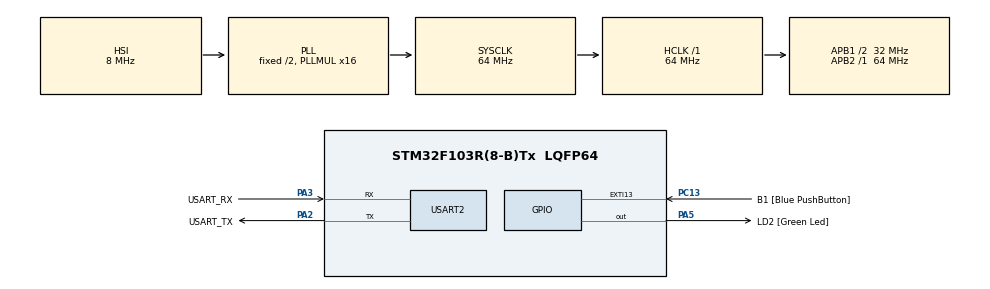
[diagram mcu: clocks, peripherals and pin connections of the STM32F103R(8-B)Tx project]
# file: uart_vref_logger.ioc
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ADC1.Channel-0\#ChannelRegularConversion=ADC_CHANNEL_VREFINT
ADC1.NbrOfConversionFlag=1
ADC1.Rank-0\#ChannelRegularConversion=1
ADC1.SamplingTime-0\#ChannelRegularConversion=ADC_SAMPLETIME_239CYCLES_5
ADC1.master=1
Mcu.Family=STM32F1
Mcu.Name=STM32F103R(8-B)Tx
Mcu.Package=LQFP64
NVIC.EXTI15_10_IRQn=true\:0\:0\:false\:false\:true\:true\:true\:true
NVIC.PriorityGroup=NVIC_PRIORITYGROUP_4
NVIC.USART2_IRQn=true\:0\:0\:false\:false\:true\:true\:true\:true
PA13.GPIO_Label=TMS
PA13.Mode=Serial_Wire
PA13.Signal=SYS_JTMS-SWDIO
PA14.GPIO_Label=TCK
PA14.Mode=Serial_Wire
PA14.Signal=SYS_JTCK-SWCLK
PA2.GPIO_Label=USART_TX
PA2.GPIO_Mode=GPIO_MODE_AF_PP
PA2.GPIO_PuPd=GPIO_NOPULL
PA2.GPIO_Speed=GPIO_SPEED_FREQ_LOW
PA2.Mode=Asynchronous
PA2.Signal=USART2_TX
PA3.GPIO_Label=USART_RX
PA3.GPIO_Mode=GPIO_MODE_AF_PP
PA3.GPIO_PuPd=GPIO_NOPULL
PA3.GPIO_Speed=GPIO_SPEED_FREQ_LOW
PA3.Mode=Asynchronous
PA3.Signal=USART2_RX
PA5.GPIO_Label=LD2 [Green Led]
PA5.GPIO_ModeDefaultOutputPP=GPIO_MODE_OUTPUT_PP
PA5.GPIO_PuPd=GPIO_NOPULL
PA5.GPIO_Speed=GPIO_SPEED_FREQ_LOW
PA5.Signal=GPIO_Output
PB3.GPIO_Label=SWO
PB3.Signal=SYS_JTDO-TRACESWO
PC13-TAMPER-RTC.GPIO_Label=B1 [Blue PushButton]
PC13-TAMPER-RTC.GPIO_PuPd=GPIO_NOPULL
PC13-TAMPER-RTC.Signal=GPXTI13
PC14-OSC32_IN.Mode=LSE-External-Oscillator
PC14-OSC32_IN.Signal=RCC_OSC32_IN
PC15-OSC32_OUT.Mode=LSE-External-Oscillator
PC15-OSC32_OUT.Signal=RCC_OSC32_OUT
PD0-OSC_IN.Mode=HSE-External-Clock-Source
PD0-OSC_IN.Signal=RCC_OSC_IN
PD1-OSC_OUT.Mode=HSE-External-Clock-Source
PD1-OSC_OUT.Signal=RCC_OSC_OUT
ProjectManager.HeapSize=0x200
ProjectManager.StackSize=0x400
ProjectManager.TargetToolchain=STM32CubeIDE
RCC.ADCPresc=RCC_ADCPCLK2_DIV6
RCC.AHBFreq_Value=64000000
RCC.APB1CLKDivider=RCC_HCLK_DIV2
RCC.APB1Freq_Value=32000000
RCC.APB1TimFreq_Value=64000000
RCC.APB2Freq_Value=64000000
RCC.APB2TimFreq_Value=64000000
RCC.HCLKFreq_Value=64000000
RCC.PLLMUL=RCC_PLL_MUL16
RCC.RTCClockSelection=RCC_RTCCLKSOURCE_LSE
RCC.SYSCLKFreq_VALUE=64000000
RCC.SYSCLKSource=RCC_SYSCLKSOURCE_PLLCLK
RCC.USBFreq_Value=64000000
USART2.VirtualMode=VM_ASYNC
VP_ADC1_Vref_Input.Mode=IN-Vrefint
board=NUCLEO-F103RB

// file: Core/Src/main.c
/* USER CODE BEGIN Header */
/**
 ******************************************************************************
 * @file           : main.c
 * @brief          : Main program body
 ******************************************************************************
 * @attention
 *
 * Copyright (c) 2026 STMicroelectronics.
 * All rights reserved.
 *
 * This software is licensed under terms that can be found in the LICENSE file
 * in the root directory of this software component.
 * If no LICENSE file comes with this software, it is provided AS-IS.
 *
 ******************************************************************************
 */
/* USER CODE END Header */
#include "main.h"
#include "cal_store.h"
#include <stdio.h>
#include <stdlib.h>
#include <string.h>

/* USER CODE BEGIN PD */
#define VREFINT_MV_TYP 1200u
#define ADC_MAX        4095u

#define VREFINT_CAL_ADDR ((uint16_t*)0x1FFFF7BAu)

/* USER CODE END PD */

ADC_HandleTypeDef hadc1;

UART_HandleTypeDef huart2;

/* USER CODE BEGIN PV */
static uint32_t vrefint_mv_cal = 1095u;
static uint8_t vrefint_cal_valid = 0;

//LED
static uint8_t ld2_load_on = 0;
static uint32_t ld2_period_ms = 1;
static uint32_t ld2_last_ms = 0;
//Stream stats
static uint32_t st_min_raw = 0xFFFFFFFFu;
static uint32_t st_max_raw = 0;
static uint64_t st_sum_raw = 0;
static uint32_t st_cnt_raw = 0;

static uint32_t st_min_vdda = 0xFFFFFFFFu;
static uint32_t st_max_vdda = 0;
static uint64_t st_sum_vdda = 0;
static uint32_t st_cnt_vdda = 0;

// UART RX (1-byte interrupt)
static uint8_t rx_xh;
static uint32_t typing_deadline_ms = 0;

#define CLI_BUF_SZ 64
static char cli_buf[CLI_BUF_SZ];
static uint32_t cli_len = 0;
static volatile uint8_t cli_line_ready = 0;

// Stream control
static uint8_t stream_on = 0;
static uint32_t stream_period_ms = 1000;
static uint32_t last_stream_ms = 0;

static uint32_t stream_seq = 0;
static uint32_t stream_lines = 0;

/* USER CODE END PV */

void SystemClock_Config(void);
static void MX_GPIO_Init(void);
static void MX_ADC1_Init(void);
static void MX_USART2_UART_Init(void);

// ==== TX ring buffer (non-blocking) === //
#define TX_BUF_SZ 512
static uint8_t tx_buf[TX_BUF_SZ];
static volatile uint16_t tx_head = 0;
static volatile uint16_t tx_tail = 0;
static volatile uint8_t tx_busy = 0;
static volatile uint32_t tx_ovf = 0; // ovverflow counter

static uint8_t tx_it_byte; // 1-byte IT 송신용 (임시)

/* USER CODE BEGIN 0 */

// === Flash CAL storage (last page) === //
#define FLASH_PAGE_SIZE_BYTES (1024u)
#define CAL_MAGIC (0xCA1Bu)
#define CAL_VERSION (0x001u)

static void tx_rb_push(uint8_t b) {
  uint16_t next = (uint16_t)((tx_head + 1) % TX_BUF_SZ);
  if (next == tx_tail) {
    tx_ovf++;
    return;
  }
  tx_buf[tx_head] = b;
  tx_head = next;
}

static int tx_rb_pop(uint8_t *out) {
  if (tx_tail == tx_head)
    return 0;
  *out = tx_buf[tx_tail];
  tx_tail = (uint16_t)((tx_tail + 1) % TX_BUF_SZ);
  return 1;
}

static uint16_t tx_rb_count(void) {
  if (tx_head >= tx_tail)
    return (uint16_t)(tx_head - tx_tail);
  return (uint16_t)(TX_BUF_SZ - (tx_tail - tx_head));
}

static void uart_tx_kick(void) {
  if (tx_busy)
    return;

  if (tx_rb_pop(&tx_it_byte)) {
    tx_busy = 1;
    HAL_UART_Transmit_IT(&huart2, &tx_it_byte, 1);
  }
}

static void stats_reset(void) {
	st_min_raw = 0xFFFFFFFFu; st_max_raw = 0; st_sum_raw = 0; st_cnt_raw = 0;
	st_min_vdda = 0xFFFFFFFFu; st_max_vdda = 0; st_sum_vdda = 0; st_cnt_vdda = 0;
}

static void stats_update(uint32_t raw, uint32_t vdda) {
	if(raw < st_min_raw) st_min_raw = raw;
	if(raw > st_max_raw) st_max_raw = raw;
	st_sum_raw += raw;
	st_cnt_raw++;

	if(vdda < st_min_vdda) st_min_vdda = vdda;
	if(vdda > st_max_vdda) st_max_vdda = vdda;
	st_sum_vdda += vdda;
	st_cnt_vdda++;
}

static void uart_write(const uint8_t *data, uint16_t len) {
  __disable_irq();
  for (uint16_t i = 0; i < len; i++) {
    tx_rb_push(data[i]);
  }

  __enable_irq();

  uart_tx_kick();
}

static uint32_t read_vref_raw(void) {
  HAL_ADC_Start(&hadc1);
  HAL_ADC_PollForConversion(&hadc1, 10);
  uint32_t v = HAL_ADC_GetValue(&hadc1);
  HAL_ADC_Stop(&hadc1);
  return v;
}

static uint32_t read_vref_raw_avg(uint8_t n) {
	uint32_t sum = 0;
	if(n == 0) return 0;

	for(uint8_t i = 0; i < n; i++){
		HAL_ADC_Start(&hadc1);
		HAL_ADC_PollForConversion(&hadc1, 10);
		sum += HAL_ADC_GetValue(&hadc1);
		HAL_ADC_Stop(&hadc1);
	}

	return (sum + (n/2)) / n;
}

static void uart_print(const char *s) {
  uart_write((const uint8_t*)s, (uint16_t)strlen(s));
}

static uint32_t calc_vdda_mv(uint32_t vref_raw) {
  if (vref_raw == 0) return 0;
  return (vrefint_mv_cal * ADC_MAX) / vref_raw;
}

static void ld2_load_set(uint8_t on) {
	ld2_load_on = on ? 1u : 0u;
	ld2_last_ms = HAL_GetTick();

	if(!ld2_load_on) {
		HAL_GPIO_WritePin(LD2_GPIO_Port, LD2_Pin, GPIO_PIN_RESET);
	}
}

static void ld2_load_set_hz(uint32_t hz) {
	if(hz < 1) hz = 1;
	if(hz > 2000) hz = 2000;
	ld2_period_ms = (1000u / hz);
	if(ld2_period_ms < 1) ld2_period_ms = 1;
}

static void ld2_load_task(void) {
	if(!ld2_load_on) return;

	uint32_t now = HAL_GetTick();
	if((now - ld2_last_ms) >= ld2_period_ms) {
		ld2_last_ms = now;
		HAL_GPIO_TogglePin(LD2_GPIO_Port, LD2_Pin);
	}
}

static void vrefint_apply_cal(uint32_t measured_vdda_mv) {
	if(measured_vdda_mv < 2500 || measured_vdda_mv > 3600) {
		uart_print("ERR cal range 2500..3600 mV\r\n");
		return;
	}

	uint32_t raw = read_vref_raw_avg(32);
	if(raw == 0) {
		uart_print("ERR raw=0\r\n");
		return;
	}

	uint32_t new_cal = (measured_vdda_mv * raw + (ADC_MAX/2)) / ADC_MAX;

	vrefint_mv_cal = new_cal;
	vrefint_cal_valid = 1;

	char out[96];
	uint32_t vdda = calc_vdda_mv(raw);
	int n = snprintf(out, sizeof(out),
			"OK cal set: meas=%lu raw=%lu vrefint_mv_cal=%lu => VDDA=%lu\r\n",
			(unsigned long)measured_vdda_mv,
			(unsigned long)raw,
			(unsigned long)vrefint_mv_cal,
			(unsigned long)vdda);
	uart_write((uint8_t*)out, (uint16_t)n);
}

static void print_status(void) {
	uint32_t raw = read_vref_raw_avg(16);
	uint32_t vdda = calc_vdda_mv(raw);
	uint32_t pending = tx_rb_count();

	char out[320];
	int n = snprintf(out, sizeof(out),
			"STATUS\r\n"
			" stream_on=%lu rate_ms=%lu seq=%lu lines=%lu\r\n"
			" tx_pending=%u tx_ovf=%lu\r\n"
			" ld2_on=%lu ld2_period_ms=%lu\r\n"
			" cal_valid=%lu vrefint_mv_cal=%lu\r\n"
			" raw=%lu vdda=%lu\r\n",
			(unsigned long)stream_on,
			(unsigned long)stream_period_ms,
			(unsigned long)stream_seq,
			(unsigned long)stream_lines,
			(unsigned)pending,
			(unsigned long)tx_ovf,
			(unsigned long)ld2_load_on,
			(unsigned long)ld2_period_ms,
			(unsigned long)vrefint_cal_valid,
			(unsigned long)vrefint_mv_cal,
			(unsigned long)raw,
			(unsigned long)vdda);

	uart_write((uint8_t*)out, (uint16_t)n);
}

static void cli_handle_line(const char *line) {
  if (strcmp(line, "help") == 0) {
    uart_print("Commands: \r\n"
               "  help\r\n"
               "  adc read\r\n"
               "  stream start\r\n"
               "  stream stop\r\n"
               "  rate <ms>\r\n"
               "  stats \r\n"
    		   "  reset stats\r\n"
    		   "  avg <N>\r\n"
    		   "  ld2 on\r\n"
    		   "  ld2 off\r\n"
    		   "  ld2 hz <1..2000>\r\n"
    		   "  cal <mV>\r\n"
    		   "  cal show\r\n"
    		   "  cal save\r\n"
    		   "  cal load\r\n"
    		   "  cal dump\r\n"
    		   "  status\r\n"
    		   "  cal erase\r\n");

    return;
  }

  if (strcmp(line, "adc read") == 0) {
    uint32_t raw = read_vref_raw_avg(16);
    uint32_t vdda = calc_vdda_mv(raw);
    char out[64];
    int n = snprintf(out, sizeof(out), "VREF_RAW=%lu VDDA_mV=%lu\r\n",
                     (uint32_t)raw, (uint32_t)vdda);
    uart_write((uint8_t *)out, (uint16_t)n);
    return;
  }

  if (strcmp(line, "stream start") == 0) {
    stream_on = 1;
    last_stream_ms = HAL_GetTick();
    stream_seq = 0;
    stream_lines = 0;

    stats_reset();

    uart_print("Ok stream on\r\n");
    return;
  }

  if (strcmp(line, "stream stop") == 0) {
    stream_on = 0;
    uart_print("OK Stream off\r\n");
    return;
  }

  if (strncmp(line, "rate ", 5) == 0) {
    uint32_t ms = (uint32_t)atoi(&line[5]);
    if (ms < 10 || ms > 5000) {
      uart_print("ERR rate must be 10..5000 ms \r\n");
    } else {
      stream_period_ms = ms;
      uart_print("OK rate set\r\n");
    }
    return;
  }

  if (strcmp(line, "stats") == 0) {
	  char out[200];

	  uint32_t pending = tx_rb_count();

	  uint32_t avg_raw = (st_cnt_raw ? (uint32_t)(st_sum_raw / st_cnt_raw) : 0);
	  uint32_t avg_vdda = (st_cnt_vdda ? (uint32_t)(st_sum_vdda / st_cnt_vdda) : 0);

	  int n = snprintf(out, sizeof(out),
			  "stream_on=%lu rate_ms=%lu seq=%lu lines=%lu tx_pending=%u tx_ovf=%lu\r\n"
			  "RAW:   cnt=%lu min=%lu max=%lu avg=%lu\r\n"
			  "VDDA:  cnt=%lu min=%lu max=%lu avg=%lu\r\n",
			  (unsigned long)stream_on,
			  (unsigned long)stream_period_ms,
			  (unsigned long)stream_seq,
			  (unsigned long)stream_lines,
			  (unsigned)pending,
			  (unsigned long)tx_ovf,
			  (unsigned long)st_cnt_raw,
			  (unsigned long)(st_min_raw==0xFFFFFFFFu?0:st_min_raw),
			  (unsigned long)st_max_raw,
			  (unsigned long)avg_raw,
			  (unsigned long)st_cnt_vdda,
			  (unsigned long)(st_min_vdda==0xFFFFFFFFu?0:st_min_vdda),
			  (unsigned long)st_max_vdda,
			  (unsigned long)avg_vdda);

	  uart_write((uint8_t*)out, (uint16_t)n);
	  return;
  }

  if(strcmp(line, "reset stats") == 0){
	  stats_reset();
	  uart_print("OK stats reset\r\n");
	  return;
  }

  if(strncmp(line, "avg ", 4) == 0) {
	  uint32_t N = (uint32_t)atoi(&line[4]);
	  if(N < 1 || N > 500) {
		  uart_print("ERR avg N must be 1..500\r\n");
		  return;
	  }

	  uint64_t sum_raw = 0;
	  uint64_t sum_vdda = 0;
	  uint32_t min_raw = 0xFFFFFFFFu, max_raw = 0;
	  uint32_t min_vdda = 0xFFFFFFFFu, max_vdda = 0;

	  for(uint32_t i = 0; i < N; i++){
		  uint32_t raw = read_vref_raw();
		  uint32_t vdda = calc_vdda_mv(raw);

		  sum_raw += raw;
		  sum_vdda += vdda;
		  if(raw < min_raw) min_raw = raw;
		  if(raw > max_raw) max_raw = raw;
		  if(vdda < min_vdda) min_vdda = vdda;
		  if(vdda > max_vdda) max_vdda = vdda;

		  HAL_Delay(2);
	  }

	  uint32_t avg_raw = (uint32_t)(sum_raw / N);
	  uint32_t avg_vdda = (uint32_t)(sum_vdda / N);

	  char out[160];
	  int n = snprintf(out, sizeof(out),
			  "AVG N=%lu\r\n"
			  "RAW:  min=%lu max=%lu avg=%lu\r\n"
			  "VDDA: min=%lu max=%lu avg=%lu\r\n",
			  (unsigned long)N,
			  (unsigned long)min_raw, (unsigned long)max_raw, (unsigned long)avg_raw,
			  (unsigned long)min_vdda, (unsigned long)max_vdda, (unsigned long)avg_vdda);
	  uart_write((uint8_t*)out, (uint16_t)n);
	  return;
  }

  if(strcmp(line, "ld2 on") == 0) {
	  ld2_load_set(1);
	  uart_print("OK ld2 load on\r\n");
	  return;
  }

  if(strcmp(line, "ld2 off") == 0) {
	  ld2_load_set(0);
	  uart_print("OK ld2 load off\r\n");
	  return;
  }

  if(strncmp(line, "ld2 hz ", 7) == 0) {
	  uint32_t hz = (uint32_t)atoi(&line[7]);
	  if(hz < 1 || hz > 2000) {
		  uart_print("ERR ld2 hz must be 1..2000\r\n");
	  } else {
		  ld2_load_set_hz(hz);
		  uart_print("OK ld2 hz set\r\n");
	  }
	  return;
  }

  if(strcmp(line, "cal show")==0) {
	  uint32_t raw = read_vref_raw_avg(16);
	  uint32_t vdda = calc_vdda_mv(raw);

	  char out[160];
	  int n = snprintf(out, sizeof(out),
			  "cal_valid=%lu vrefint_mv_cal=%lu raw=%lu vdda=%lu\r\n",
			  (unsigned long)vrefint_cal_valid,
			  (unsigned long)vrefint_mv_cal,
			  (unsigned long)raw,
			  (unsigned long)vdda);

	  uart_write((uint8_t*)out, (uint16_t)n);
	  return;
  }

  if(strcmp(line, "cal save") == 0) {
	  cal_store_status_t st = cal_store_save(vrefint_mv_cal);

	  if(st == CAL_STORE_OK) {
		  uart_print("OK cal saved\r\n");
	  } else if (st == CAL_STORE_ERR_RANGE) {
		  uart_print("ERR cal save rage\r\n");
	  } else if (st == CAL_STORE_ERR_FLASH_ERASE) {
		  uart_print("ERR cal save erase\r\n");
	  } else if (st == CAL_STORE_ERR_FLASH_PROG) {
		  uart_print("ERR cal save prog\r\n");
	  } else if (st == CAL_STORE_ERR_VERIFY) {
		  uart_print("ERR cal save verify\r\n");
	  } else {
		  uart_print("ERR cal save failed\r\n");
	  }
	  return;
  }

  if(strcmp(line, "cal load") == 0) {
	  uint32_t cal_mv;
	  if(cal_store_load(&cal_mv)) {
		  vrefint_mv_cal = cal_mv;
		  vrefint_cal_valid = 1;
		  uart_print("OK cal loaded\r\n");
	  } else {
		  uart_print("ERR cal not found\r\n");
	  }
	  return;
  }

  if(strcmp(line, "cal dump") == 0) {
	  cal_rec_t rec;
	  cal_store_read_raw(&rec);

	  uint16_t crc_calc = cal_store_crc16(rec.magic, rec.version, rec.vrefint_mv_cal);

	  char out[180];
	  int n = snprintf(out, sizeof(out),
			  "CAL_DUMP addr=0x%08lX\r\n"
			  " magic=0x%04X version=0x%04X cal=%u crc=0x%04X crc_calc=0x%04X\r\n",
			  (unsigned long)cal_store_get_last_page_addr(),
			  rec.magic, rec.version, rec.vrefint_mv_cal, rec.crc, crc_calc);

	  uart_write((uint8_t*)out, (uint16_t)n);
	  return;
  }

  if(strcmp(line, "cal erase") == 0) {
	  if(cal_store_erase()) uart_print("OK cal erased (flash page)\r\n");
	  else uart_print("ERR cal erase failed\r\n");
	  return;
  }

  if(strncmp(line, "cal ", 4) == 0) {
	  uint32_t mv = (uint32_t)atoi(&line[4]);
	  vrefint_apply_cal(mv);
	  return;
  }

  if(strcmp(line, "status")==0) {
	  print_status();
	  return;
  }

  uart_print("ERR unknown command\r\n");
  return;
}

/* USER CODE END 0 */

int main(void) {

  /* MCU Configuration--------------------------------------------------------*/

  /* Reset of all peripherals, Initializes the Flash interface and the Systick.
   */
  HAL_Init();

  /* Configure the system clock */
  SystemClock_Config();

  /* Initialize all configured peripherals */
  MX_GPIO_Init();
  MX_ADC1_Init();
  MX_USART2_UART_Init();
  /* USER CODE BEGIN 2 */
  const char msg[] = "BOOT OK\r\n";
  const char prompt[] = "> ";
  uart_print(msg);
  uart_print(prompt);
  HAL_UART_Receive_IT(&huart2, &rx_xh, 1);

  uint32_t cal_mv;
  if(cal_store_load(&cal_mv)) {
	  vrefint_mv_cal = cal_mv;
	  vrefint_cal_valid = 1;
	  uart_print("CAL loaded from flash\r\n");
  } else {
	  uart_print("CAL not found (use cal <mV> then cal save)\r\n");
  }

  /* USER CODE END 2 */

  /* Infinite loop */
  while (1) {
    if (cli_line_ready) {
      cli_line_ready = 0;
      cli_handle_line(cli_buf);
      uart_print("> ");
    }

    ld2_load_task();

    if (stream_on) {
      uint32_t now = HAL_GetTick();
      if (now > typing_deadline_ms &&
          (now - last_stream_ms) >= stream_period_ms) {
        last_stream_ms = now;
        uint32_t raw = read_vref_raw_avg(16);
        uint32_t vdda = calc_vdda_mv(raw);

        stats_update(raw, vdda);

        char out[64];
        int n = snprintf(out, sizeof(out), "S,%lu,%lu,%lu,%lu\r\n",
                         (uint32_t)stream_seq, (uint32_t)now, (uint32_t)raw,
                         (uint32_t)vdda);
        uart_write((uint8_t *)out, (uint16_t)n);
        stream_seq++;
        stream_lines++;
      }
    }

  }
}

void SystemClock_Config(void) {
  RCC_OscInitTypeDef RCC_OscInitStruct = {0};
  RCC_ClkInitTypeDef RCC_ClkInitStruct = {0};
  RCC_PeriphCLKInitTypeDef PeriphClkInit = {0};

  /** Initializes the RCC Oscillators according to the specified parameters
   * in the RCC_OscInitTypeDef structure.
   */
  RCC_OscInitStruct.OscillatorType = RCC_OSCILLATORTYPE_HSI;
  RCC_OscInitStruct.HSIState = RCC_HSI_ON;
  RCC_OscInitStruct.HSICalibrationValue = RCC_HSICALIBRATION_DEFAULT;
  RCC_OscInitStruct.PLL.PLLState = RCC_PLL_ON;
  RCC_OscInitStruct.PLL.PLLSource = RCC_PLLSOURCE_HSI_DIV2;
  RCC_OscInitStruct.PLL.PLLMUL = RCC_PLL_MUL16;
  if (HAL_RCC_OscConfig(&RCC_OscInitStruct) != HAL_OK) {
    Error_Handler();
  }

  /** Initializes the CPU, AHB and APB buses clocks
   */
  RCC_ClkInitStruct.ClockType = RCC_CLOCKTYPE_HCLK | RCC_CLOCKTYPE_SYSCLK |
                                RCC_CLOCKTYPE_PCLK1 | RCC_CLOCKTYPE_PCLK2;
  RCC_ClkInitStruct.SYSCLKSource = RCC_SYSCLKSOURCE_PLLCLK;
  RCC_ClkInitStruct.AHBCLKDivider = RCC_SYSCLK_DIV1;
  RCC_ClkInitStruct.APB1CLKDivider = RCC_HCLK_DIV2;
  RCC_ClkInitStruct.APB2CLKDivider = RCC_HCLK_DIV1;

  if (HAL_RCC_ClockConfig(&RCC_ClkInitStruct, FLASH_LATENCY_2) != HAL_OK) {
    Error_Handler();
  }
  PeriphClkInit.PeriphClockSelection = RCC_PERIPHCLK_ADC;
  PeriphClkInit.AdcClockSelection = RCC_ADCPCLK2_DIV6;
  if (HAL_RCCEx_PeriphCLKConfig(&PeriphClkInit) != HAL_OK) {
    Error_Handler();
  }
}

static void MX_ADC1_Init(void) {

  ADC_ChannelConfTypeDef sConfig = {0};

  /** Common config
   */
  hadc1.Instance = ADC1;
  hadc1.Init.ScanConvMode = ADC_SCAN_DISABLE;
  hadc1.Init.ContinuousConvMode = DISABLE;
  hadc1.Init.DiscontinuousConvMode = DISABLE;
  hadc1.Init.ExternalTrigConv = ADC_SOFTWARE_START;
  hadc1.Init.DataAlign = ADC_DATAALIGN_RIGHT;
  hadc1.Init.NbrOfConversion = 1;
  if (HAL_ADC_Init(&hadc1) != HAL_OK) {
    Error_Handler();
  }

  ADC1->CR2 |= ADC_CR2_TSVREFE;

  /** Configure Regular Channel
   */
  sConfig.Channel = ADC_CHANNEL_VREFINT;
  sConfig.Rank = ADC_REGULAR_RANK_1;
  sConfig.SamplingTime = ADC_SAMPLETIME_239CYCLES_5;
  if (HAL_ADC_ConfigChannel(&hadc1, &sConfig) != HAL_OK) {
    Error_Handler();
  }
}

static void MX_USART2_UART_Init(void) {

  huart2.Instance = USART2;
  huart2.Init.BaudRate = 115200;
  huart2.Init.WordLength = UART_WORDLENGTH_8B;
  huart2.Init.StopBits = UART_STOPBITS_1;
  huart2.Init.Parity = UART_PARITY_NONE;
  huart2.Init.Mode = UART_MODE_TX_RX;
  huart2.Init.HwFlowCtl = UART_HWCONTROL_NONE;
  huart2.Init.OverSampling = UART_OVERSAMPLING_16;
  if (HAL_UART_Init(&huart2) != HAL_OK) {
    Error_Handler();
  }
}

static void MX_GPIO_Init(void) {
  GPIO_InitTypeDef GPIO_InitStruct = {0};

  /* GPIO Ports Clock Enable */
  __HAL_RCC_GPIOC_CLK_ENABLE();
  __HAL_RCC_GPIOD_CLK_ENABLE();
  __HAL_RCC_GPIOA_CLK_ENABLE();
  __HAL_RCC_GPIOB_CLK_ENABLE();

  /*Configure GPIO pin Output Level */
  HAL_GPIO_WritePin(LD2_GPIO_Port, LD2_Pin, GPIO_PIN_RESET);

  /*Configure GPIO pin : B1_Pin */
  GPIO_InitStruct.Pin = B1_Pin;
  GPIO_InitStruct.Mode = GPIO_MODE_IT_RISING;
  GPIO_InitStruct.Pull = GPIO_NOPULL;
  HAL_GPIO_Init(B1_GPIO_Port, &GPIO_InitStruct);

  /*Configure GPIO pin : LD2_Pin */
  GPIO_InitStruct.Pin = LD2_Pin;
  GPIO_InitStruct.Mode = GPIO_MODE_OUTPUT_PP;
  GPIO_InitStruct.Pull = GPIO_NOPULL;
  GPIO_InitStruct.Speed = GPIO_SPEED_FREQ_LOW;
  HAL_GPIO_Init(LD2_GPIO_Port, &GPIO_InitStruct);

  /* EXTI interrupt init*/
  HAL_NVIC_SetPriority(EXTI15_10_IRQn, 0, 0);
  HAL_NVIC_EnableIRQ(EXTI15_10_IRQn);

}

/* USER CODE BEGIN 4 */
void HAL_UART_RxCpltCallback(UART_HandleTypeDef *huart) {
  if (huart->Instance == USART2) {

    // 에코 (입력 확인용)
    uart_write(&rx_xh, 1);
    typing_deadline_ms = HAL_GetTick() + 300;

    if (rx_xh == '\r' || rx_xh == '\n') {
      cli_buf[cli_len] = '\0';
      cli_len = 0;
      cli_line_ready = 1;

      const char nl[] = "\r\n";
      uart_write((const uint8_t*)nl, (uint16_t)(sizeof(nl) - 1));
    } else if (rx_xh == '\b' || rx_xh == 0x7F) {
      if (cli_len > 0)
        cli_len--;
    } else {
      if (cli_len < CLI_BUF_SZ - 1) {
        cli_buf[cli_len++] = (char)rx_xh;
      }
    }

    // 다음 바이트 수신 재등록(필수)
    HAL_UART_Receive_IT(&huart2, &rx_xh, 1);
  }
}

void HAL_UART_TxCpltCallback(UART_HandleTypeDef *huart) {
  if (huart->Instance == USART2) {
    if (tx_rb_pop(&tx_it_byte)) {
      HAL_UART_Transmit_IT(&huart2, &tx_it_byte, 1);
    } else {
      tx_busy = 0;
    }
  }
}

/* USER CODE END 4 */

void Error_Handler(void) {
  __disable_irq();
  while (1) {
  }
}
#ifdef USE_FULL_ASSERT
/**
 * @brief  Reports the name of the source file and the source line number
 *         where the assert_param error has occurred.
 * @param  file: pointer to the source file name
 * @param  line: assert_param error line source number
 * @retval None
 */
void assert_failed(uint8_t *file, uint32_t line) {
  /* USER CODE BEGIN 6 */
  /* User can add his own implementation to report the file name and line
     number, ex: printf("Wrong parameters value: file %s on line %d\r\n", file,
     line) */
  /* USER CODE END 6 */
}
#endif /* USE_FULL_ASSERT */
